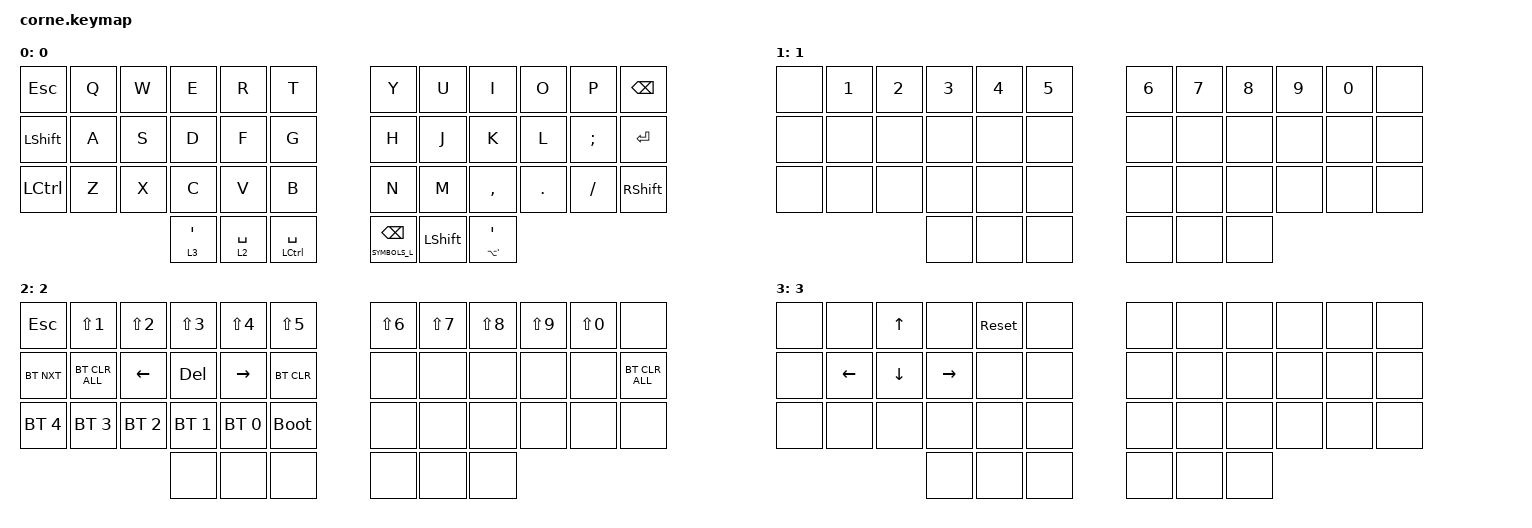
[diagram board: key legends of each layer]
/*
 * Copyright (c) 2020 The ZMK Contributors
 *
 * SPDX-License-Identifier: MIT
 */

#include <behaviors.dtsi>
#include <dt-bindings/zmk/bt.h>
#include <dt-bindings/zmk/keys.h>

#define DEFAULT_L 0
#define SYMBOLS_L 1
#define ARROWS_L  2
#define NUMBERS_L 3

/ {
    behaviors {
        hm: homerow_mods {
            compatible = "zmk,behavior-hold-tap";
            label = "HOMEROW_MODS";
            #binding-cells = <2>;
            tapping-term-ms = <300>;
            quick-tap-ms = <200>;
            flavor = "tap-preferred";
            bindings = <&kp>, <&kp>;
        };
    };

    combos {
        compatible = "zmk,combos";

        a {
            bindings = <&kp ESCAPE>;
            key-positions = <0 1>;
        };

        c {
            bindings = <&kp TAB>;
            key-positions = <26 25>;
        };

        d {
            bindings = <&kp BACKSPACE>;
            key-positions = <10 9>;
        };

        e {
            bindings = <&kp ENTER>;
            key-positions = <22 21>;
        };

        f {
            bindings = <&kp MINUS>;
            key-positions = <19 20>;
        };

        g {
            bindings = <&kp EQUAL>;
            key-positions = <21 20>;
        };

        h {
            bindings = <&sys_reset>;
            key-positions = <1 29>;
        };

        j {
            bindings = <&sys_reset>;
            key-positions = <30 10>;
        };

        Boot {
            bindings = <&bootloader>;
            key-positions = <35 23 11>;
            timeout-ms = <0>;
        };
    };

    keymap {
        compatible = "zmk,keymap";

        default_layer {
            label = "0";
            bindings = <
&kp ESC         &kp Q  &kp W  &kp E      &kp R        &kp T              &kp Y                    &kp U           &kp I                     &kp O    &kp P     &kp BSPC
&kp LEFT_SHIFT  &kp A  &kp S  &kp D      &kp F        &kp G              &kp H                    &kp J           &kp K                     &kp L    &kp SEMI  &kp RET
&kp LCTRL       &kp Z  &kp X  &kp C      &kp V        &kp B              &kp N                    &kp M           &kp COMMA                 &kp DOT  &kp FSLH  &kp RSHFT
                              &lt 3 SQT  &lt 2 SPACE  &mt LCTRL SPACE    &lt SYMBOLS_L BACKSPACE  &kp LEFT_SHIFT  &mt LA(SQT) SINGLE_QUOTE
            >;
        };

        number_layer {
            label = "1";
            bindings = <
&none  &kp N1  &kp N2  &kp N3  &kp N4  &kp N5    &kp N6  &kp N7  &kp N8  &kp N9  &kp N0  &none
&none  &none   &none   &none   &none   &none     &none   &none   &none   &none   &none   &none
&none  &none   &none   &none   &none   &none     &none   &none   &none   &none   &none   &none
                       &none   &none   &none     &none   &none   &none
            >;
        };

        bt_layer {
            label = "2";
            bindings = <
&kp ESC       &kp LS(N1)      &kp LS(N2)      &kp LS(N3)    &kp LS(N4)    &kp LS(N5)     &kp LS(N6)  &kp LS(N7)  &kp LS(N8)  &kp LS(N9)  &kp LS(N0)  &none
&bt BT_NXT    &bt BT_CLR_ALL  &kp LEFT_ARROW  &kp DEL       &kp RIGHT     &bt BT_CLR     &none       &none       &none       &none       &none       &bt BT_CLR_ALL
&bt BT_SEL 4  &bt BT_SEL 3    &bt BT_SEL 2    &bt BT_SEL 1  &bt BT_SEL 0  &bootloader    &none       &none       &none       &none       &none       &none
                                              &none         &none         &none          &none       &none       &none
            >;
        };

        arrow_layer {
            label = "3";
            bindings = <
&none  &none           &kp UP_ARROW    &none      &sys_reset  &none    &none  &none  &none  &none  &none  &none
&none  &kp LEFT_ARROW  &kp DOWN_ARROW  &kp RIGHT  &none       &none    &none  &none  &none  &none  &none  &none
&none  &none           &none           &none      &none       &none    &none  &none  &none  &none  &none  &none
                                       &none      &none       &none    &none  &none  &none
            >;
        };
    };
};
